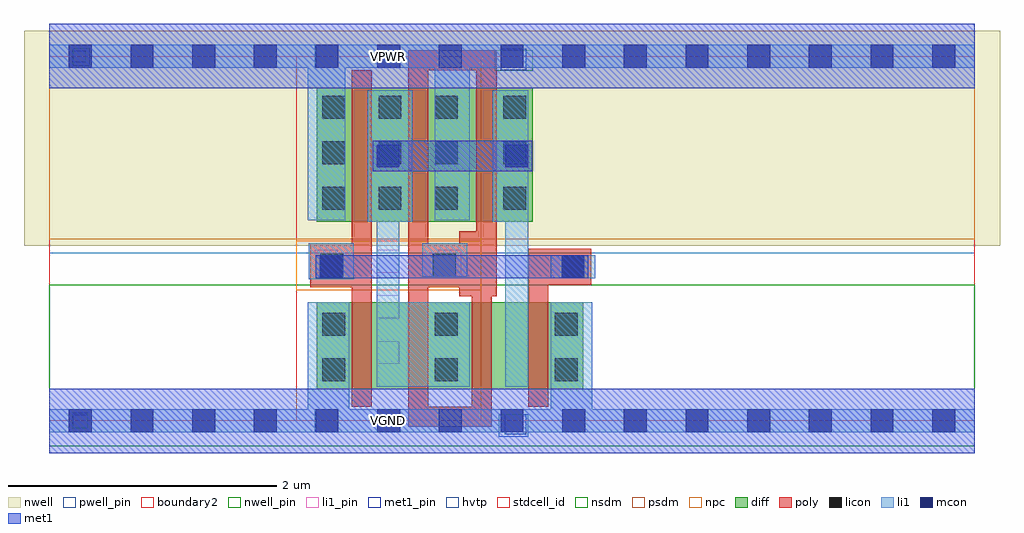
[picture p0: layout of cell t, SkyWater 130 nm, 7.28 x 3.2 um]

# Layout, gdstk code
import gdstk
lib = gdstk.Library(unit=1e-6, precision=1e-09)
def R(c, l, rs):  # rectangles x0, y0, x1, y1
    for r in rs: c.add(gdstk.rectangle(r[:2], r[2:], *l))
def A(c, l, x, y, w, h, nx, ny, dx, dy):  # array of equal rectangles
    R(c, l, [(x+i*dx, y+j*dy, x+i*dx+w, y+j*dy+h) for i in range(nx) for j in range(ny)])
nwell_pin = (64, 16)
nwell = (64, 20)
diff = (65, 20)
poly = (66, 20)
licon = (66, 44)
li1_pin = (67, 16)
li1 = (67, 20)
mcon = (67, 44)
met1_pin = (68, 16)
met1 = (68, 20)
hvtp = (78, 44)
stdcell_id = (81, 4)
nsdm = (93, 44)
psdm = (94, 20)
npc = (95, 20)
pwell_pin = (122, 16)
boundary2 = (236, 0)

c_t = lib.new_cell('t')
R(c_t, nwell_pin, [(3.32,2.61,3.605,2.765), (1.98,2.635,2.15,2.805), (0.175,2.65,0.3,2.78)])
R(c_t, nwell, [(-0.19,1.305,3.785,2.91), (1.65,1.305,3.785,2.91), (1.815,1.305,7.09,2.91)])
R(c_t, diff, [(1.995,0.235,3.98,0.885), (1.995,1.485,3.605,2.485)])
R(c_t, poly, [(2.675,-0.045,3.3,0.105), (3.15,-0.045,3.3,1.015), (2.255,0.105,2.405,2.615), (2.675,0.105,2.825,2.615), (3.57,0.105,3.72,1.015), (3.055,0.93,3.3,1.08), (3.055,0.93,3.335,1.415), (1.945,0.995,2.255,1.325), (2.825,0.995,3.115,1.325), (3.57,1.015,4.04,1.285), (3.075,1.265,3.335,1.415), (3.185,1.355,3.335,2.765), (2.675,2.615,3.335,2.765)])
A(c_t, licon, 2.035, 1.575, 0.17, 0.17, 3, 3, 0.42, 0.34)
A(c_t, licon, 3.385, 1.575, 0.17, 0.17, 1, 3, 0, 0.34)
R(c_t, licon, [(2.035,0.295,2.205,0.465), (2.875,0.295,3.045,0.465), (3.77,0.295,3.94,0.465), (2.035,0.635,2.205,0.805), (2.875,0.635,3.045,0.805), (3.77,0.635,3.94,0.805), (3.82,1.065,3.99,1.235), (2.02,1.075,2.19,1.245), (2.86,1.075,3.03,1.245)])
A(c_t, li1_pin, 1.98, 1.105, 0.17, 0.17, 3, 1, 0.46, 0)
R(c_t, li1_pin, [(2.44,0.425,2.61,0.595), (2.44,0.765,2.61,0.935)])
R(c_t, li1, [(0,-0.085,1.84,0.085), (1.84,-0.085,1.925,0.085), (1.925,-0.085,2.235,0.885), (2.235,-0.085,3.22,0.085), (3.22,-0.085,6.9,0.085), (3.74,-0.085,4.05,0.885), (2.44,0.255,2.61,2.465), (2.61,0.255,2.705,0.885), (2.705,0.255,3.135,0.885), (3.4,0.255,3.57,2.465), (1.935,1.055,2.27,1.325), (3.74,1.065,4.07,1.235), (2.78,1.075,3.115,1.325), (2.375,1.485,2.44,2.465), (2.61,1.485,2.705,2.465), (3.305,1.485,3.4,2.465), (1.925,1.495,2.205,2.805), (2.875,1.495,3.135,2.805), (0,2.635,1.84,2.805), (1.84,2.635,1.925,2.805), (2.205,2.635,2.875,2.805), (3.135,2.635,3.22,2.805), (3.22,2.635,6.9,2.805)])
A(c_t, mcon, 0.145, -0.085, 0.17, 0.17, 15, 2, 0.46, 2.72)
R(c_t, mcon, [(2.017,1.065,2.187,1.235), (3.82,1.065,3.99,1.235), (2.44,1.89,2.61,2.06), (3.4,1.89,3.57,2.06)])
R(c_t, met1_pin, [(3.395,-0.1,3.555,0.05), (1.98,-0.085,2.15,0.085), (0.17,-0.05,0.285,0.045), (3.365,2.615,3.555,2.775), (1.98,2.635,2.15,2.805), (0.17,2.675,0.27,2.76)])
R(c_t, met1, [(0,-0.24,1.84,0.24), (1.84,-0.24,3.22,0.24), (3.22,-0.24,6.9,0.24), (1.987,1.065,4.02,1.235), (2.41,1.86,3.6,2.09), (0,2.48,1.84,2.96), (1.84,2.48,3.22,2.96), (3.22,2.48,6.9,2.96)])
R(c_t, hvtp, [(0,1.25,1.84,2.72), (1.84,1.25,3.22,2.72), (3.22,1.25,6.9,2.72)])
R(c_t, stdcell_id, [(0,0,1.84,2.72), (1.84,0,3.22,2.72), (3.22,0,6.9,2.72)])
R(c_t, nsdm, [(0,-0.19,1.84,1.015), (1.84,-0.19,4.105,1.015), (3.22,-0.19,6.9,1.015)])
R(c_t, psdm, [(0,1.355,1.84,2.91), (1.84,1.355,3.73,2.91), (3.22,1.355,6.9,2.91)])
R(c_t, npc, [(1.84,0.975,3.22,1.345)])
R(c_t, pwell_pin, [(3.35,-0.12,3.57,0.05), (1.98,-0.085,2.15,0.085), (0.175,-0.06,0.285,0.06)])
R(c_t, boundary2, [(1.84,0,3.22,2.72)])
c_t.add(gdstk.Label('VPWR', (2.53,2.72), layer=67, texttype=20))
c_t.add(gdstk.Label('VGND', (2.53,0), layer=67, texttype=20))

lib.write_gds('t.gds')
